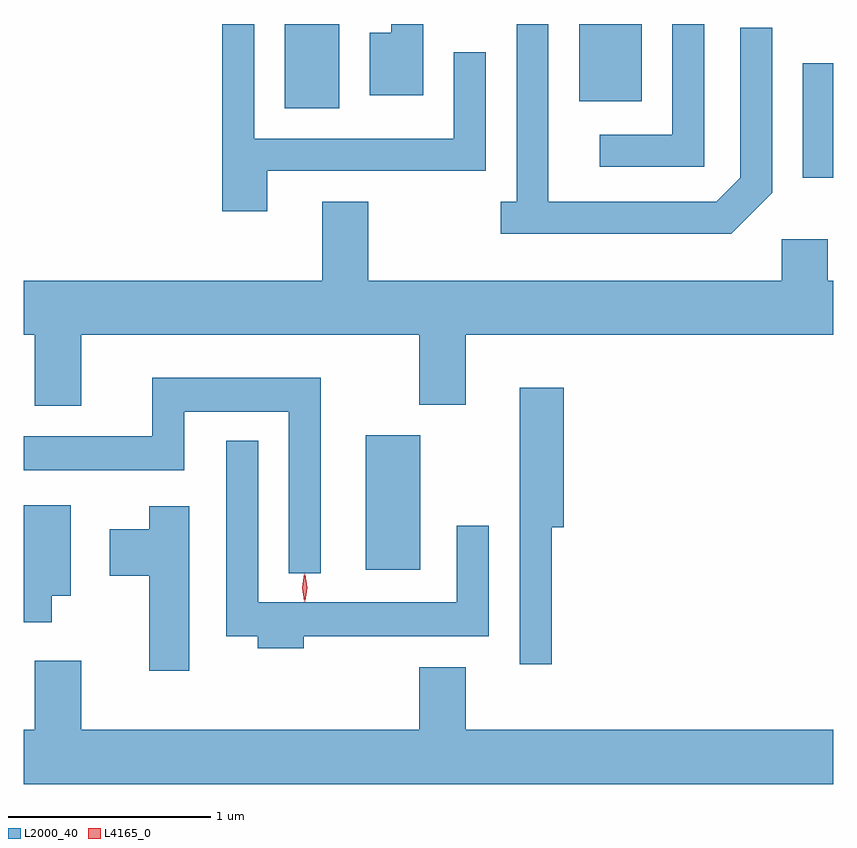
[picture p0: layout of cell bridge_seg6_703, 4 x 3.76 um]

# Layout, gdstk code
import gdstk
lib = gdstk.Library(unit=1e-6, precision=1e-09)
def R(c, l, rs):  # rectangles x0, y0, x1, y1
    for r in rs: c.add(gdstk.rectangle(r[:2], r[2:], *l))
def P(c, l, *ps):  # polygons
    for p in ps: c.add(gdstk.Polygon(p, *l))
L2000_40 = (2000, 40)
L4165_0 = (4165, 0)

bridge_seg6_703 = lib.new_cell('bridge_seg6_703')
R(bridge_seg6_703, L2000_40, [(547.516,1597.716,547.784,1598.379), (549.676,1599.651,549.826,1600.219), (547.116,1599.996,547.384,1600.412), (548.571,1600.031,548.879,1600.412)])
P(bridge_seg6_703, L2000_40, [(547.029,1599.686),(548.109,1599.686),(548.109,1600.273),(547.951,1600.273),(547.951,1599.844),(546.964,1599.844),(546.964,1600.412),(546.806,1600.412),(546.806,1599.486),(547.029,1599.486)],
  [(549.524,1599.579),(549.524,1600.393),(549.366,1600.393),(549.366,1599.652),(549.249,1599.534),(548.419,1599.534),(548.419,1600.412),(548.261,1600.412),(548.261,1599.534),(548.183,1599.534),(548.183,1599.376),(549.322,1599.376)],
  [(547.799,1600.412),(547.641,1600.412),(547.641,1600.369),(547.536,1600.369),(547.536,1600.061),(547.799,1600.061)],
  [(549.189,1600.412),(549.031,1600.412),(549.031,1599.864),(548.673,1599.864),(548.673,1599.706),(549.189,1599.706)],
  [(546.109,1598.876),(547.781,1598.876),(547.781,1598.531),(548.009,1598.531),(548.009,1598.876),(549.826,1598.876),(549.826,1599.144),(549.799,1599.144),(549.799,1599.349),(549.571,1599.349),(549.571,1599.144),(547.529,1599.144),(547.529,1599.534),(547.301,1599.534),(547.301,1599.144),(545.826,1599.144),(545.826,1598.876),(545.881,1598.876),(545.881,1598.526),(546.109,1598.526)],
  [(547.294,1598.664),(546.461,1598.664),(546.461,1598.374),(545.826,1598.374),(545.826,1598.206),(546.619,1598.206),(546.619,1598.496),(547.136,1598.496),(547.136,1597.698),(547.294,1597.698)],
  [(548.434,1597.926),(548.494,1597.926),(548.494,1598.614),(548.276,1598.614),(548.276,1597.248),(548.434,1597.248)],
  [(547.209,1597.386),(548.124,1597.386),(548.124,1597.933),(547.966,1597.933),(547.966,1597.554),(546.984,1597.554),(546.984,1598.353),(546.826,1598.353),(546.826,1597.386),(546.981,1597.386),(546.981,1597.326),(547.209,1597.326)],
  [(545.964,1597.586),(546.059,1597.586),(546.059,1598.034),(545.826,1598.034),(545.826,1597.456),(545.964,1597.456)],
  [(546.644,1598.029),(546.446,1598.029),(546.446,1597.914),(546.251,1597.914),(546.251,1597.686),(546.446,1597.686),(546.446,1597.216),(546.644,1597.216)],
  [(549.826,1596.924),(548.009,1596.924),(548.009,1597.234),(547.781,1597.234),(547.781,1596.924),(546.109,1596.924),(546.109,1597.264),(545.881,1597.264),(545.881,1596.924),(545.826,1596.924),(545.826,1596.656),(549.826,1596.656)])
P(bridge_seg6_703, L4165_0, [(547.217,1597.56),(547.217,1597.56),(547.207,1597.626),(547.217,1597.692),(547.217,1597.693),(547.218,1597.692),(547.227,1597.626),(547.218,1597.56)],
  [(547.212,1597.557),(547.212,1597.558),(547.202,1597.627),(547.212,1597.696),(547.212,1597.696),(547.213,1597.696),(547.222,1597.627),(547.213,1597.558)])

lib.write_gds('bridge_seg6_703.gds')
